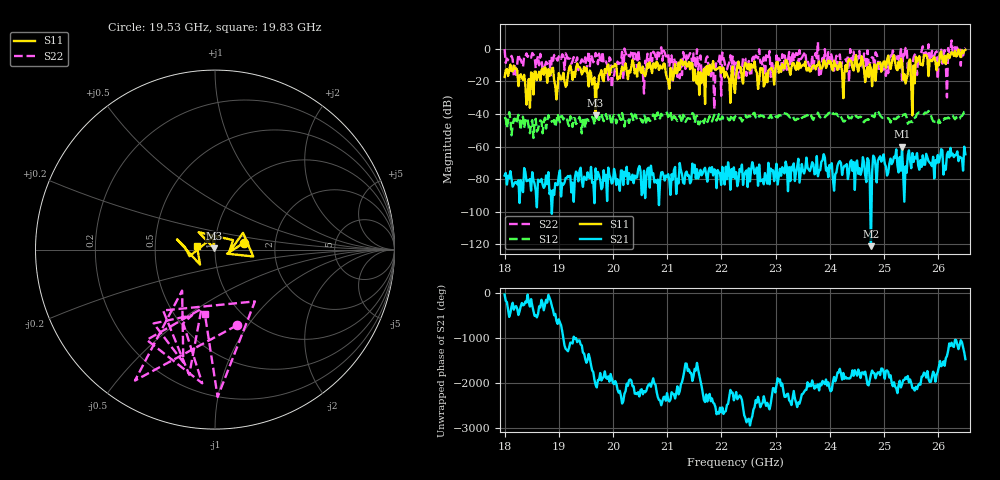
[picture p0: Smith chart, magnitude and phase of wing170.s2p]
!Keysight Technologies,N5242B,MY47200105,A.14.00.23
!Date: Friday, May 10, 2024 11:05:45
!Correction: S11(C  2-Port  )
!S21(C  2-Port  )
!S12(C  2-Port  )
!S22(C  2-Port  )
!S2P File: Measurement: :
# Hz S  RI  R 50
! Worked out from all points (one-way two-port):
!   401 points, 18 GHz to 26.5 GHz, reference 50 ohm
!   highest |S21| = -59.95 dB at 25.33 GHz (marker M1); lowest = -121.0 dB at 24.76 GHz (marker M2)
!   lowest |S11| = -40.9 dB at 19.68 GHz (marker M3), VSWR 1.02, Z = 49.5 + j0.748 ohm
!   |S11| at or under -10 dB: 18.11 GHz to 19.33 GHz (1.223 GHz wide, 6.53 % of centre); 19.35 GHz to 19.9 GHz (554.5 MHz wide, 2.83 % of centre); 21.86 GHz to 22.3 GHz (440.9 MHz wide, 2 % of centre) (the widest 3 of 58)
!   |S22| runs from -37.0 to 5.1 dB; largest |S21 - S12| = 0.013
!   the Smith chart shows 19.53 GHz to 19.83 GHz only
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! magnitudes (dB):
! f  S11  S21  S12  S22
! 18 GHz  -17.3  -77.7  -41.9  -0.2
! 18.43 GHz  -29.8  -80.9  -43.3  -4.9
! 18.72 GHz  -15.9  -85.3  -45.0  -9.3
! 18.96 GHz  -31.0  -83.0  -44.6  -6.0
! 19.42 GHz  -15.6  -80.7  -51.9  -6.4
! 19.68 GHz  -40.9  -73.4  -40.6  -2.5
! 20.02 GHz  -10.9  -73.6  -40.7  -16.5
! 20.25 GHz  -13.5  -72.4  -42.5  -4.2
! 20.55 GHz  -10.9  -88.1  -45.2  -13.8
! 20.85 GHz  -12.9  -95.8  -43.3  -4.6
! 21.23 GHz  -12.9  -70.0  -40.9  -18.0
! 21.4 GHz  -8.1  -77.6  -42.7  -4.4
! 21.59 GHz  -28.4  -77.2  -46.3  -8.2
! 21.85 GHz  -7.5  -77.6  -42.6  -8.9
! 22.25 GHz  -27.0  -79.4  -41.6  -16.2
! 23.67 GHz  -10.9  -69.5  -42.7  -3.9
! 24.76 GHz  -12.2  -121.0  -42.3  -5.9
! 25.1 GHz  -9.2  -70.3  -43.2  -5.9
! 25.33 GHz  -7.2  -59.9  -41.1  -19.2
! 25.52 GHz  -40.8  -63.9  -45.0  -10.0
! 25.63 GHz  -5.9  -71.3  -39.4  -5.0
! 26.5 GHz  -0.7  -64.6  -38.5  0.6
